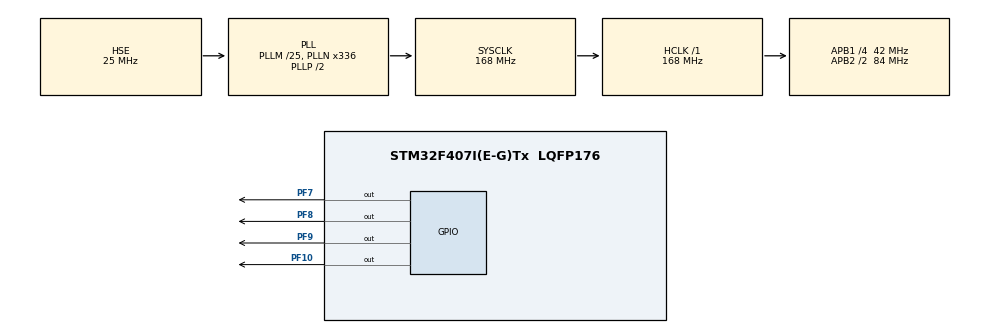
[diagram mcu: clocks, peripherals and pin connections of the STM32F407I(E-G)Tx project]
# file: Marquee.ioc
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Mcu.Family=STM32F4
Mcu.Name=STM32F407I(E-G)Tx
Mcu.Package=LQFP176
NVIC.PriorityGroup=NVIC_PRIORITYGROUP_4
PF10.Signal=GPIO_Output
PF7.Signal=GPIO_Output
PF8.Signal=GPIO_Output
PF9.Signal=GPIO_Output
PH0-OSC_IN.Mode=HSE-External-Oscillator
PH0-OSC_IN.Signal=RCC_OSC_IN
PH1-OSC_OUT.Mode=HSE-External-Oscillator
PH1-OSC_OUT.Signal=RCC_OSC_OUT
ProjectManager.HeapSize=0x200
ProjectManager.StackSize=0x400
ProjectManager.TargetToolchain=MDK-ARM V5
RCC.48MHZClocksFreq_Value=84000000
RCC.AHBFreq_Value=168000000
RCC.APB1CLKDivider=RCC_HCLK_DIV4
RCC.APB1Freq_Value=42000000
RCC.APB1TimFreq_Value=84000000
RCC.APB2CLKDivider=RCC_HCLK_DIV2
RCC.APB2Freq_Value=84000000
RCC.APB2TimFreq_Value=168000000
RCC.CortexFreq_Value=168000000
RCC.HCLKFreq_Value=168000000
RCC.HSE_VALUE=25000000
RCC.HSI_VALUE=16000000
RCC.LSE_VALUE=32768
RCC.PLLM=25
RCC.PLLN=336
RCC.PLLSourceVirtual=RCC_PLLSOURCE_HSE
RCC.SYSCLKFreq_VALUE=168000000
RCC.SYSCLKSource=RCC_SYSCLKSOURCE_PLLCLK
RCC.VCOOutputFreq_Value=336000000
board=Marquee

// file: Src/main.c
/**
  ******************************************************************************
  * File Name          : main.c
  * Description        : Main program body
  ******************************************************************************
  *
  * COPYRIGHT(c) 2023 STMicroelectronics
  *
  * Redistribution and use in source and binary forms, with or without modification,
  * are permitted provided that the following conditions are met:
  *   1. Redistributions of source code must retain the above copyright notice,
  *      this list of conditions and the following disclaimer.
  *   2. Redistributions in binary form must reproduce the above copyright notice,
  *      this list of conditions and the following disclaimer in the documentation
  *      and/or other materials provided with the distribution.
  *   3. Neither the name of STMicroelectronics nor the names of its contributors
  *      may be used to endorse or promote products derived from this software
  *      without specific prior written permission.
  *
  * THIS SOFTWARE IS PROVIDED BY THE COPYRIGHT HOLDERS AND CONTRIBUTORS "AS IS"
  * AND ANY EXPRESS OR IMPLIED WARRANTIES, INCLUDING, BUT NOT LIMITED TO, THE
  * IMPLIED WARRANTIES OF MERCHANTABILITY AND FITNESS FOR A PARTICULAR PURPOSE ARE
  * DISCLAIMED. IN NO EVENT SHALL THE COPYRIGHT HOLDER OR CONTRIBUTORS BE LIABLE
  * FOR ANY DIRECT, INDIRECT, INCIDENTAL, SPECIAL, EXEMPLARY, OR CONSEQUENTIAL
  * DAMAGES (INCLUDING, BUT NOT LIMITED TO, PROCUREMENT OF SUBSTITUTE GOODS OR
  * SERVICES; LOSS OF USE, DATA, OR PROFITS; OR BUSINESS INTERRUPTION) HOWEVER
  * CAUSED AND ON ANY THEORY OF LIABILITY, WHETHER IN CONTRACT, STRICT LIABILITY,
  * OR TORT (INCLUDING NEGLIGENCE OR OTHERWISE) ARISING IN ANY WAY OUT OF THE USE
  * OF THIS SOFTWARE, EVEN IF ADVISED OF THE POSSIBILITY OF SUCH DAMAGE.
  *
  ******************************************************************************
  */
#include "main.h"
#include "stm32f4xx_hal.h"
#include "gpio.h"

/* USER CODE BEGIN PV */
/* Private variables ---------------------------------------------------------*/

/* USER CODE END PV */

void SystemClock_Config(void);
void Error_Handler(void);

/* USER CODE BEGIN PFP */
/* Private function prototypes -----------------------------------------------*/
void Turn_On_LED(uint8_t LED_NUM);
/* USER CODE END PFP */

int main(void)
{

  /* USER CODE BEGIN 1 */
	uint8_t count=0;
  /* USER CODE END 1 */

  /* MCU Configuration----------------------------------------------------------*/

  /* Reset of all peripherals, Initializes the Flash interface and the Systick. */
  HAL_Init();

  /* Configure the system clock */
  SystemClock_Config();

  /* Initialize all configured peripherals */
  MX_GPIO_Init();

  /* Infinite loop */
  while (1)
  {

  /* USER CODE BEGIN 3 */
    HAL_GPIO_WritePin(GPIOF, GPIO_PIN_7|GPIO_PIN_8|GPIO_PIN_9|GPIO_PIN_10, GPIO_PIN_SET);

		Turn_On_LED(count%4);	//����һ��LED��
		count++;
		HAL_Delay(500);
  }
  /* USER CODE END 3 */

}

/** System Clock Configuration
*/
void SystemClock_Config(void)
{

  RCC_OscInitTypeDef RCC_OscInitStruct;
  RCC_ClkInitTypeDef RCC_ClkInitStruct;

    /**Configure the main internal regulator output voltage
    */
  __HAL_RCC_PWR_CLK_ENABLE();

  __HAL_PWR_VOLTAGESCALING_CONFIG(PWR_REGULATOR_VOLTAGE_SCALE1);

    /**Initializes the CPU, AHB and APB busses clocks
    */
  RCC_OscInitStruct.OscillatorType = RCC_OSCILLATORTYPE_HSE;
  RCC_OscInitStruct.HSEState = RCC_HSE_ON;
  RCC_OscInitStruct.PLL.PLLState = RCC_PLL_ON;
  RCC_OscInitStruct.PLL.PLLSource = RCC_PLLSOURCE_HSE;
  RCC_OscInitStruct.PLL.PLLM = 25;
  RCC_OscInitStruct.PLL.PLLN = 336;
  RCC_OscInitStruct.PLL.PLLP = RCC_PLLP_DIV2;
  RCC_OscInitStruct.PLL.PLLQ = 4;
  if (HAL_RCC_OscConfig(&RCC_OscInitStruct) != HAL_OK)
  {
    Error_Handler();
  }

    /**Initializes the CPU, AHB and APB busses clocks
    */
  RCC_ClkInitStruct.ClockType = RCC_CLOCKTYPE_HCLK|RCC_CLOCKTYPE_SYSCLK
                              |RCC_CLOCKTYPE_PCLK1|RCC_CLOCKTYPE_PCLK2;
  RCC_ClkInitStruct.SYSCLKSource = RCC_SYSCLKSOURCE_PLLCLK;
  RCC_ClkInitStruct.AHBCLKDivider = RCC_SYSCLK_DIV1;
  RCC_ClkInitStruct.APB1CLKDivider = RCC_HCLK_DIV4;
  RCC_ClkInitStruct.APB2CLKDivider = RCC_HCLK_DIV2;

  if (HAL_RCC_ClockConfig(&RCC_ClkInitStruct, FLASH_LATENCY_5) != HAL_OK)
  {
    Error_Handler();
  }

    /**Configure the Systick interrupt time
    */
  HAL_SYSTICK_Config(HAL_RCC_GetHCLKFreq()/1000);

    /**Configure the Systick
    */
  HAL_SYSTICK_CLKSourceConfig(SYSTICK_CLKSOURCE_HCLK);

  /* SysTick_IRQn interrupt configuration */
  HAL_NVIC_SetPriority(SysTick_IRQn, 0, 0);
}

/* USER CODE BEGIN 4 */
void Turn_On_LED(uint8_t LED_NUM)
{
	switch(LED_NUM)
	{
        case 0:
					HAL_GPIO_WritePin(GPIOF,GPIO_PIN_7,GPIO_PIN_RESET); /*����D6��*/
          break;
        case 1:
					HAL_GPIO_WritePin(GPIOF,GPIO_PIN_8,GPIO_PIN_RESET); /*����D7��*/
          break;
        case 2:
					HAL_GPIO_WritePin(GPIOF,GPIO_PIN_9,GPIO_PIN_RESET);  /*����D8��*/
          break;
        case 3:
					HAL_GPIO_WritePin(GPIOF,GPIO_PIN_10,GPIO_PIN_RESET); /*����D9��*/
          break;
        default:
          break;
	}

}
/* USER CODE END 4 */

void Error_Handler(void)
{
  while(1)
  {
  }
}

/************************ (C) COPYRIGHT STMicroelectronics *****END OF FILE****/
